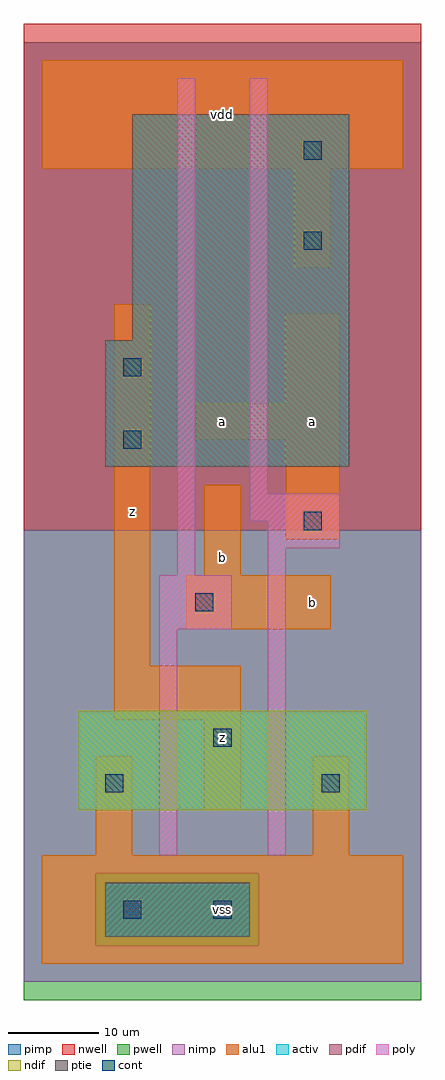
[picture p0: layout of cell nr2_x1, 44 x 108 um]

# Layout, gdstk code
import gdstk
lib = gdstk.Library(unit=1e-6, precision=1e-09)
def R(c, l, rs):  # rectangles x0, y0, x1, y1
    for r in rs: c.add(gdstk.rectangle(r[:2], r[2:], *l))
ndif = (3, 0)
pdif = (4, 0)
ptie = (6, 0)
cont = (25, 0)
pwell = (41, 0)
nwell = (42, 0)
activ = (43, 0)
pimp = (44, 0)
nimp = (45, 0)
poly = (46, 0)
alu1 = (49, 0)

nr2_x1 = lib.new_cell('nr2_x1')
R(nr2_x1, ndif, [(4,17,36,28)])
R(nr2_x1, pdif, [(7,55,34,69), (10,69,34,94)])
R(nr2_x1, ptie, [(7,3,23,9)])
R(nr2_x1, cont, [(9,5,11,7), (19,5,21,7), (7,19,9,21), (31,19,33,21), (19,24,21,26), (17,39,19,41), (29,48,31,50), (9,57,11,59), (9,65,11,67), (29,79,31,81), (29,89,31,91)])
R(nr2_x1, pwell, [(-2,-4,42,48)])
R(nr2_x1, nwell, [(-2,48,42,104)])
R(nr2_x1, activ, [(7,3,23,9), (4,17,36,28), (7,55,34,69), (10,69,34,94)])
R(nr2_x1, pimp, [(6,2,24,10), (-2,48,42,102)])
R(nr2_x1, nimp, [(-2,-2,42,2), (-2,2,6,10), (24,2,42,10), (-2,10,42,48)])
R(nr2_x1, poly, [(13,12,15,37), (25,12,27,46), (13,37,21,43), (15,43,17,98), (25,46,33,49), (23,49,33,52), (23,52,25,98)])
R(nr2_x1, alu1, [(0,0,40,12), (6,12,10,23), (30,12,34,23), (18,17,22,27), (8,27,22,33), (8,33,12,73), (16,37,32,43), (18,43,22,53), (27,47,33,58), (17,58,33,62), (27,62,33,72), (28,77,32,88), (0,88,40,100)])
nr2_x1.add(gdstk.Label('z', (10,50), layer=49, texttype=0))
nr2_x1.add(gdstk.Label('vss', (20,6), layer=49, texttype=0))
nr2_x1.add(gdstk.Label('z', (20,25), layer=49, texttype=0))
nr2_x1.add(gdstk.Label('b', (20,45), layer=49, texttype=0))
nr2_x1.add(gdstk.Label('a', (20,60), layer=49, texttype=0))
nr2_x1.add(gdstk.Label('vdd', (20,94), layer=49, texttype=0))
nr2_x1.add(gdstk.Label('b', (30,40), layer=49, texttype=0))
nr2_x1.add(gdstk.Label('a', (30,60), layer=49, texttype=0))

lib.write_gds('nr2_x1.gds')
